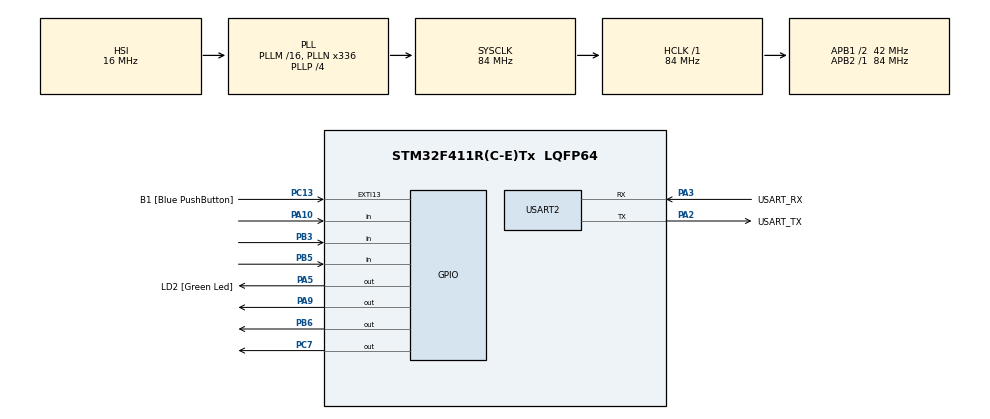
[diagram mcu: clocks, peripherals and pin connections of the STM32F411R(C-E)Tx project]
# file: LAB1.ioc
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Mcu.Family=STM32F4
Mcu.Name=STM32F411R(C-E)Tx
Mcu.Package=LQFP64
NVIC.PriorityGroup=NVIC_PRIORITYGROUP_0
PA10.Signal=GPIO_Input
PA13.GPIO_Label=TMS
PA13.Mode=Serial_Wire
PA13.Signal=SYS_JTMS-SWDIO
PA14.GPIO_Label=TCK
PA14.Mode=Serial_Wire
PA14.Signal=SYS_JTCK-SWCLK
PA2.GPIO_Label=USART_TX
PA2.Mode=Asynchronous
PA2.Signal=USART2_TX
PA3.GPIO_Label=USART_RX
PA3.Mode=Asynchronous
PA3.Signal=USART2_RX
PA5.GPIO_Label=LD2 [Green Led]
PA5.Signal=GPIO_Output
PA9.Signal=GPIO_Output
PB3.Signal=GPIO_Input
PB5.Signal=GPIO_Input
PB6.Signal=GPIO_Output
PC13-ANTI_TAMP.GPIO_Label=B1 [Blue PushButton]
PC13-ANTI_TAMP.GPIO_ModeDefaultEXTI=GPIO_MODE_IT_FALLING
PC13-ANTI_TAMP.Signal=GPXTI13
PC14-OSC32_IN.Mode=LSE-External-Oscillator
PC14-OSC32_IN.Signal=RCC_OSC32_IN
PC15-OSC32_OUT.Mode=LSE-External-Oscillator
PC15-OSC32_OUT.Signal=RCC_OSC32_OUT
PC7.Signal=GPIO_Output
PH0\ -\ OSC_IN.Mode=HSE-External-Clock-Source
PH0\ -\ OSC_IN.Signal=RCC_OSC_IN
PH1\ -\ OSC_OUT.Mode=HSE-External-Clock-Source
PH1\ -\ OSC_OUT.Signal=RCC_OSC_OUT
ProjectManager.HeapSize=0x200
ProjectManager.StackSize=0x400
ProjectManager.TargetToolchain=STM32CubeIDE
RCC.48MHZClocksFreq_Value=84000000
RCC.AHBFreq_Value=84000000
RCC.APB1CLKDivider=RCC_HCLK_DIV2
RCC.APB1Freq_Value=42000000
RCC.APB1TimFreq_Value=84000000
RCC.APB2Freq_Value=84000000
RCC.APB2TimFreq_Value=84000000
RCC.CortexFreq_Value=84000000
RCC.FLatency-AdvancedSettings=FLASH_LATENCY_2
RCC.HCLKFreq_Value=84000000
RCC.HSE_VALUE=8000000
RCC.HSI_VALUE=16000000
RCC.PLLN=336
RCC.PLLP=RCC_PLLP_DIV4
RCC.SYSCLKFreq_VALUE=84000000
RCC.SYSCLKSource=RCC_SYSCLKSOURCE_PLLCLK
RCC.VCOOutputFreq_Value=336000000
USART2.VirtualMode=VM_ASYNC
board=NUCLEO-F411RE

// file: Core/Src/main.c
/* USER CODE BEGIN Header */
/**
  ******************************************************************************
  * @file           : main.c
  * @brief          : Main program body
  ******************************************************************************
  * @attention
  *
  * <h2><center>&copy; Copyright (c) 2021 STMicroelectronics.
  * All rights reserved.</center></h2>
  *
  * This software component is licensed by ST under BSD 3-Clause license,
  * the "License"; You may not use this file except in compliance with the
  * License. You may obtain a copy of the License at:
  *                        opensource.org/licenses/BSD-3-Clause
  *
  ******************************************************************************
  */
/* USER CODE END Header */
#include "main.h"

UART_HandleTypeDef huart2;

void SystemClock_Config(void);
static void MX_GPIO_Init(void);
static void MX_USART2_UART_Init(void);

int main(void)
{

  /* MCU Configuration--------------------------------------------------------*/

  /* Reset of all peripherals, Initializes the Flash interface and the Systick. */
  HAL_Init();

  /* Configure the system clock */
  SystemClock_Config();

  /* Initialize all configured peripherals */
  MX_GPIO_Init();
  MX_USART2_UART_Init();
  /* USER CODE BEGIN 2 */

  enum StateDisplay{
	  State_Start = 0,
	  State_001,
	  State_002,
	  State_003,
	  State_D3_0 = 10,
	  State_D3_1,
	  State_D3_switch0,
	  State_D3_switch1,
  };
  GPIO_PinState S1_State[2] = {0};
  GPIO_PinState S2_State[2] = {0};
  GPIO_PinState S3_State[2] = {0};
  uint8_t STATEDISPLAY = 0;
  uint32_t TimeLEDBink = 0;
  uint32_t TimeStamp = 0;
  uint32_t BotTimeStamp = 0;
  uint8_t STATEDISPLAYD3 = 10;
  uint32_t TimeD3 = 0;

  /* USER CODE END 2 */

  /* Infinite loop */
  while (1)
  {

    /* USER CODE BEGIN 3 */
	  if (HAL_GetTick() - BotTimeStamp >= 100){
		  BotTimeStamp = HAL_GetTick();

		  S1_State[0] = HAL_GPIO_ReadPin(GPIOA, GPIO_PIN_10);
		  S2_State[0] = HAL_GPIO_ReadPin(GPIOB, GPIO_PIN_3);
		  S3_State[0] = HAL_GPIO_ReadPin(GPIOB, GPIO_PIN_5);
		  switch (STATEDISPLAY) {
			case State_Start:

				TimeLEDBink = 1000;
				if (S1_State[1] == GPIO_PIN_SET && S1_State[0]== GPIO_PIN_RESET)
				{
					STATEDISPLAY = State_001;
				}
				else
				{
					STATEDISPLAY = State_Start;
				}
				break;
			case State_001:
				TimeLEDBink = 500;
				if (S1_State[1] == GPIO_PIN_SET && S1_State[0]== GPIO_PIN_RESET)
				{
					STATEDISPLAY = State_002;
				}
				else
				{
					STATEDISPLAY = State_001;
				}
				break;
			case State_002:
				TimeLEDBink = 250;
				if (S1_State[1] == GPIO_PIN_SET && S1_State[0]== GPIO_PIN_RESET)
				{
					STATEDISPLAY = State_003;
				}
				else
				{
					STATEDISPLAY = State_002;
				}
				break;
			case State_003:
				TimeLEDBink = 167;
				if (S1_State[1] == GPIO_PIN_SET && S1_State[0]== GPIO_PIN_RESET)
				{
					STATEDISPLAY = State_Start;
				}
				else
				{
					STATEDISPLAY = State_003;
				}
				break;
			default:
				break;
		}
		switch (STATEDISPLAYD3) {
			case State_D3_0:

				if(HAL_GetTick() - TimeD3 <= 500)
				{
					HAL_GPIO_WritePin(GPIOB, GPIO_PIN_6, GPIO_PIN_RESET);
				}
				else {
					TimeD3 = HAL_GetTick();
					STATEDISPLAYD3 = State_D3_1;
				}
				if(S3_State[1] == GPIO_PIN_SET && S3_State[0] == GPIO_PIN_RESET)
				{
					STATEDISPLAYD3 = State_D3_switch0;
				}

				break;
			case State_D3_1:
				if(HAL_GetTick() - TimeD3 <= 1500)
				{
					HAL_GPIO_WritePin(GPIOB, GPIO_PIN_6, GPIO_PIN_SET);
				}
				else {
					TimeD3 = HAL_GetTick();
					STATEDISPLAYD3 = State_D3_0;
				}
				if(S3_State[1] == GPIO_PIN_SET && S3_State[0] == GPIO_PIN_RESET)
				{
					STATEDISPLAYD3 = State_D3_switch1;
				}
				break;
			case State_D3_switch0:
				if(HAL_GetTick() - TimeD3 <= 1500)
				{
					HAL_GPIO_WritePin(GPIOB, GPIO_PIN_6, GPIO_PIN_RESET);
				}
				else {
					TimeD3 = HAL_GetTick();
					STATEDISPLAYD3 = State_D3_switch1;
				}
				if(S3_State[1] == GPIO_PIN_SET && S3_State[0] == GPIO_PIN_RESET)
				{
					STATEDISPLAYD3 = State_D3_0;
				}
				break;
			case State_D3_switch1:
				if(HAL_GetTick() - TimeD3 <= 500)
				{
					HAL_GPIO_WritePin(GPIOB, GPIO_PIN_6, GPIO_PIN_SET);
				}
				else {
					TimeD3 = HAL_GetTick();
					STATEDISPLAYD3 = State_D3_switch0;
				}
				if(S3_State[1] == GPIO_PIN_SET && S3_State[0] == GPIO_PIN_RESET)
				{
					STATEDISPLAYD3 = State_D3_1;
				}
				break;

			default:
				break;
		}

		if(S2_State[1] == GPIO_PIN_SET && S2_State[0] == GPIO_PIN_RESET) // part2
		{
			if(HAL_GPIO_ReadPin(GPIOC, GPIO_PIN_7) == GPIO_PIN_SET)
			{
				HAL_GPIO_WritePin(GPIOC, GPIO_PIN_7, GPIO_PIN_RESET);
			}
			else {
				HAL_GPIO_WritePin(GPIOC, GPIO_PIN_7, GPIO_PIN_SET);
			}
		}
		if(HAL_GetTick() - TimeStamp >= TimeLEDBink) // part 1
		{
			TimeStamp = HAL_GetTick();
			if(HAL_GPIO_ReadPin(GPIOA, GPIO_PIN_9) == GPIO_PIN_SET)
			{
				HAL_GPIO_WritePin(GPIOA, GPIO_PIN_9, GPIO_PIN_RESET);
			}
			else
			{
				HAL_GPIO_WritePin(GPIOA, GPIO_PIN_9, GPIO_PIN_SET);
			}
		 }

		 S1_State[1] = S1_State[0];
		 S2_State[1] = S2_State[0];
		 S3_State[1] = S3_State[0];
	  }
  }

  /* USER CODE END 3 */
}

void SystemClock_Config(void)
{
  RCC_OscInitTypeDef RCC_OscInitStruct = {0};
  RCC_ClkInitTypeDef RCC_ClkInitStruct = {0};

  /** Configure the main internal regulator output voltage
  */
  __HAL_RCC_PWR_CLK_ENABLE();
  __HAL_PWR_VOLTAGESCALING_CONFIG(PWR_REGULATOR_VOLTAGE_SCALE1);
  /** Initializes the RCC Oscillators according to the specified parameters
  * in the RCC_OscInitTypeDef structure.
  */
  RCC_OscInitStruct.OscillatorType = RCC_OSCILLATORTYPE_HSI;
  RCC_OscInitStruct.HSIState = RCC_HSI_ON;
  RCC_OscInitStruct.HSICalibrationValue = RCC_HSICALIBRATION_DEFAULT;
  RCC_OscInitStruct.PLL.PLLState = RCC_PLL_ON;
  RCC_OscInitStruct.PLL.PLLSource = RCC_PLLSOURCE_HSI;
  RCC_OscInitStruct.PLL.PLLM = 16;
  RCC_OscInitStruct.PLL.PLLN = 336;
  RCC_OscInitStruct.PLL.PLLP = RCC_PLLP_DIV4;
  RCC_OscInitStruct.PLL.PLLQ = 4;
  if (HAL_RCC_OscConfig(&RCC_OscInitStruct) != HAL_OK)
  {
    Error_Handler();
  }
  /** Initializes the CPU, AHB and APB buses clocks
  */
  RCC_ClkInitStruct.ClockType = RCC_CLOCKTYPE_HCLK|RCC_CLOCKTYPE_SYSCLK
                              |RCC_CLOCKTYPE_PCLK1|RCC_CLOCKTYPE_PCLK2;
  RCC_ClkInitStruct.SYSCLKSource = RCC_SYSCLKSOURCE_PLLCLK;
  RCC_ClkInitStruct.AHBCLKDivider = RCC_SYSCLK_DIV1;
  RCC_ClkInitStruct.APB1CLKDivider = RCC_HCLK_DIV2;
  RCC_ClkInitStruct.APB2CLKDivider = RCC_HCLK_DIV1;

  if (HAL_RCC_ClockConfig(&RCC_ClkInitStruct, FLASH_LATENCY_2) != HAL_OK)
  {
    Error_Handler();
  }
}

static void MX_USART2_UART_Init(void)
{

  huart2.Instance = USART2;
  huart2.Init.BaudRate = 115200;
  huart2.Init.WordLength = UART_WORDLENGTH_8B;
  huart2.Init.StopBits = UART_STOPBITS_1;
  huart2.Init.Parity = UART_PARITY_NONE;
  huart2.Init.Mode = UART_MODE_TX_RX;
  huart2.Init.HwFlowCtl = UART_HWCONTROL_NONE;
  huart2.Init.OverSampling = UART_OVERSAMPLING_16;
  if (HAL_UART_Init(&huart2) != HAL_OK)
  {
    Error_Handler();
  }

}

static void MX_GPIO_Init(void)
{
  GPIO_InitTypeDef GPIO_InitStruct = {0};

  /* GPIO Ports Clock Enable */
  __HAL_RCC_GPIOC_CLK_ENABLE();
  __HAL_RCC_GPIOH_CLK_ENABLE();
  __HAL_RCC_GPIOA_CLK_ENABLE();
  __HAL_RCC_GPIOB_CLK_ENABLE();

  /*Configure GPIO pin Output Level */
  HAL_GPIO_WritePin(GPIOA, LD2_Pin|GPIO_PIN_9, GPIO_PIN_RESET);

  /*Configure GPIO pin Output Level */
  HAL_GPIO_WritePin(GPIOC, GPIO_PIN_7, GPIO_PIN_RESET);

  /*Configure GPIO pin Output Level */
  HAL_GPIO_WritePin(GPIOB, GPIO_PIN_6, GPIO_PIN_RESET);

  /*Configure GPIO pin : B1_Pin */
  GPIO_InitStruct.Pin = B1_Pin;
  GPIO_InitStruct.Mode = GPIO_MODE_IT_FALLING;
  GPIO_InitStruct.Pull = GPIO_NOPULL;
  HAL_GPIO_Init(B1_GPIO_Port, &GPIO_InitStruct);

  /*Configure GPIO pins : LD2_Pin PA9 */
  GPIO_InitStruct.Pin = LD2_Pin|GPIO_PIN_9;
  GPIO_InitStruct.Mode = GPIO_MODE_OUTPUT_PP;
  GPIO_InitStruct.Pull = GPIO_NOPULL;
  GPIO_InitStruct.Speed = GPIO_SPEED_FREQ_LOW;
  HAL_GPIO_Init(GPIOA, &GPIO_InitStruct);

  /*Configure GPIO pin : PC7 */
  GPIO_InitStruct.Pin = GPIO_PIN_7;
  GPIO_InitStruct.Mode = GPIO_MODE_OUTPUT_PP;
  GPIO_InitStruct.Pull = GPIO_NOPULL;
  GPIO_InitStruct.Speed = GPIO_SPEED_FREQ_LOW;
  HAL_GPIO_Init(GPIOC, &GPIO_InitStruct);

  /*Configure GPIO pin : PA10 */
  GPIO_InitStruct.Pin = GPIO_PIN_10;
  GPIO_InitStruct.Mode = GPIO_MODE_INPUT;
  GPIO_InitStruct.Pull = GPIO_NOPULL;
  HAL_GPIO_Init(GPIOA, &GPIO_InitStruct);

  /*Configure GPIO pins : PB3 PB5 */
  GPIO_InitStruct.Pin = GPIO_PIN_3|GPIO_PIN_5;
  GPIO_InitStruct.Mode = GPIO_MODE_INPUT;
  GPIO_InitStruct.Pull = GPIO_NOPULL;
  HAL_GPIO_Init(GPIOB, &GPIO_InitStruct);

  /*Configure GPIO pin : PB6 */
  GPIO_InitStruct.Pin = GPIO_PIN_6;
  GPIO_InitStruct.Mode = GPIO_MODE_OUTPUT_PP;
  GPIO_InitStruct.Pull = GPIO_NOPULL;
  GPIO_InitStruct.Speed = GPIO_SPEED_FREQ_LOW;
  HAL_GPIO_Init(GPIOB, &GPIO_InitStruct);

}

void Error_Handler(void)
{
  __disable_irq();
  while (1)
  {
  }
}

/************************ (C) COPYRIGHT STMicroelectronics *****END OF FILE****/
